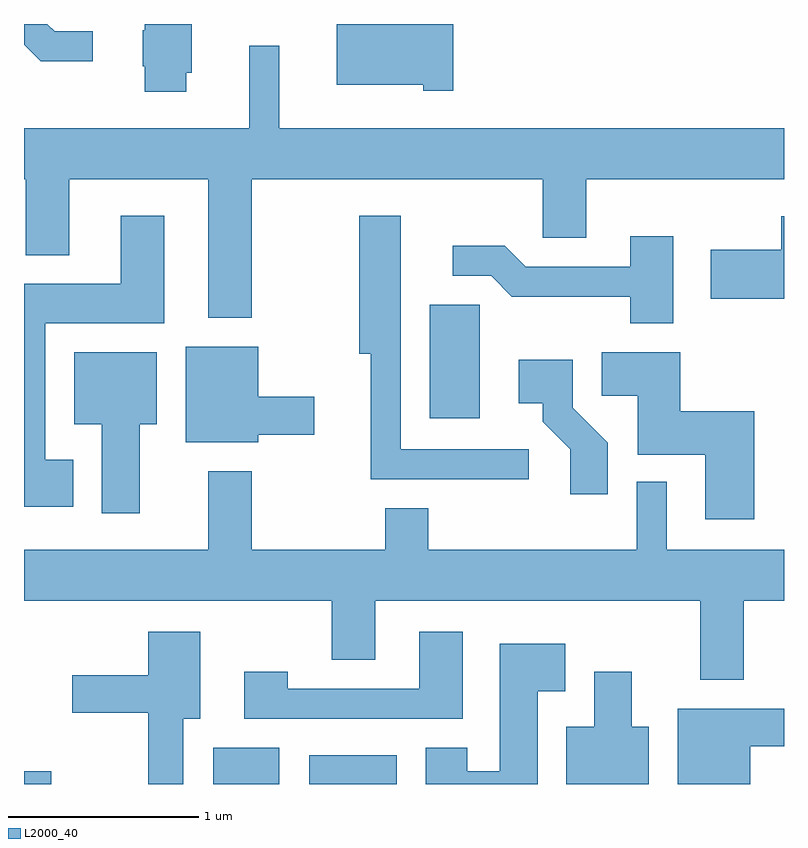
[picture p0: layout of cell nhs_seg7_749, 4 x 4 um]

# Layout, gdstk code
import gdstk
lib = gdstk.Library(unit=1e-6, precision=1e-09)
def R(c, l, rs):  # rectangles x0, y0, x1, y1
    for r in rs: c.add(gdstk.rectangle(r[:2], r[2:], *l))
def P(c, l, *ps):  # polygons
    for p in ps: c.add(gdstk.Polygon(p, *l))
L2000_40 = (2000, 40)

nhs_seg7_749 = lib.new_cell('nhs_seg7_749')
R(nhs_seg7_749, L2000_40, [(207.611,1702.252,207.754,1702.319), (208.606,1702.252,208.954,1702.444), (209.111,1702.252,209.574,1702.404), (209.746,1704.176,210.009,1704.774)])
P(nhs_seg7_749, L2000_40, [(208.464,1705.996),(208.494,1705.996),(208.494,1706.252),(208.246,1706.252),(208.246,1706.22),(208.236,1706.22),(208.236,1706.03),(208.246,1706.03),(208.246,1705.896),(208.464,1705.896)],
  [(207.973,1706.214),(207.772,1706.214),(207.734,1706.252),(207.611,1706.252),(207.611,1706.144),(207.699,1706.056),(207.973,1706.056)],
  [(209.869,1706.252),(209.256,1706.252),(209.256,1705.931),(209.711,1705.931),(209.711,1705.901),(209.869,1705.901)],
  [(208.809,1705.436),(210.341,1705.436),(210.341,1705.126),(210.569,1705.126),(210.569,1705.436),(211.611,1705.436),(211.611,1705.704),(208.954,1705.704),(208.954,1706.138),(208.796,1706.138),(208.796,1705.704),(207.611,1705.704),(207.611,1705.436),(207.621,1705.436),(207.621,1705.036),(207.849,1705.036),(207.849,1705.436),(208.581,1705.436),(208.581,1704.706),(208.809,1704.706)],
  [(207.869,1703.959),(207.724,1703.959),(207.724,1704.676),(208.349,1704.676),(208.349,1705.244),(208.121,1705.244),(208.121,1704.884),(207.611,1704.884),(207.611,1703.711),(207.869,1703.711)],
  [(210.268,1704.014),(209.594,1704.014),(209.594,1705.244),(209.376,1705.244),(209.376,1704.516),(209.436,1704.516),(209.436,1703.856),(210.268,1703.856)],
  [(211.611,1705.239),(211.596,1705.239),(211.596,1705.064),(211.226,1705.064),(211.226,1704.806),(211.611,1704.806)],
  [(211.029,1705.134),(210.801,1705.134),(210.801,1704.974),(210.252,1704.974),(210.142,1705.084),(209.868,1705.084),(209.868,1704.926),(210.069,1704.926),(210.179,1704.816),(210.801,1704.816),(210.801,1704.676),(211.029,1704.676)],
  [(208.844,1704.091),(209.139,1704.091),(209.139,1704.289),(208.844,1704.289),(208.844,1704.554),(208.461,1704.554),(208.461,1704.051),(208.844,1704.051)],
  [(211.454,1704.214),(211.064,1704.214),(211.064,1704.524),(210.651,1704.524),(210.651,1704.296),(210.841,1704.296),(210.841,1703.986),(211.196,1703.986),(211.196,1703.646),(211.454,1703.646)],
  [(208.219,1704.146),(208.309,1704.146),(208.309,1704.524),(207.876,1704.524),(207.876,1704.146),(208.021,1704.146),(208.021,1703.676),(208.219,1703.676)],
  [(210.684,1704.047),(210.499,1704.232),(210.499,1704.484),(210.216,1704.484),(210.216,1704.256),(210.341,1704.256),(210.341,1704.159),(210.486,1704.014),(210.486,1703.776),(210.684,1703.776)],
  [(211.399,1703.216),(211.611,1703.216),(211.611,1703.484),(210.994,1703.484),(210.994,1703.843),(210.836,1703.843),(210.836,1703.484),(209.739,1703.484),(209.739,1703.704),(209.511,1703.704),(209.511,1703.484),(208.809,1703.484),(208.809,1703.899),(208.581,1703.899),(208.581,1703.484),(207.611,1703.484),(207.611,1703.216),(209.231,1703.216),(209.231,1702.906),(209.459,1702.906),(209.459,1703.216),(211.171,1703.216),(211.171,1702.801),(211.399,1702.801)],
  [(208.449,1702.596),(208.539,1702.596),(208.539,1703.054),(208.266,1703.054),(208.266,1702.824),(207.866,1702.824),(207.866,1702.626),(208.266,1702.626),(208.266,1702.252),(208.449,1702.252)],
  [(209.919,1703.054),(209.691,1703.054),(209.691,1702.754),(208.999,1702.754),(208.999,1702.844),(208.771,1702.844),(208.771,1702.596),(209.919,1702.596)],
  [(210.314,1702.741),(210.459,1702.741),(210.459,1702.989),(210.116,1702.989),(210.116,1702.319),(209.944,1702.319),(209.944,1702.444),(209.726,1702.444),(209.726,1702.252),(210.314,1702.252)],
  [(210.899,1702.554),(210.809,1702.554),(210.809,1702.844),(210.611,1702.844),(210.611,1702.554),(210.466,1702.554),(210.466,1702.252),(210.899,1702.252)],
  [(211.434,1702.451),(211.611,1702.451),(211.611,1702.649),(211.051,1702.649),(211.051,1702.252),(211.434,1702.252)])

lib.write_gds('nhs_seg7_749.gds')
